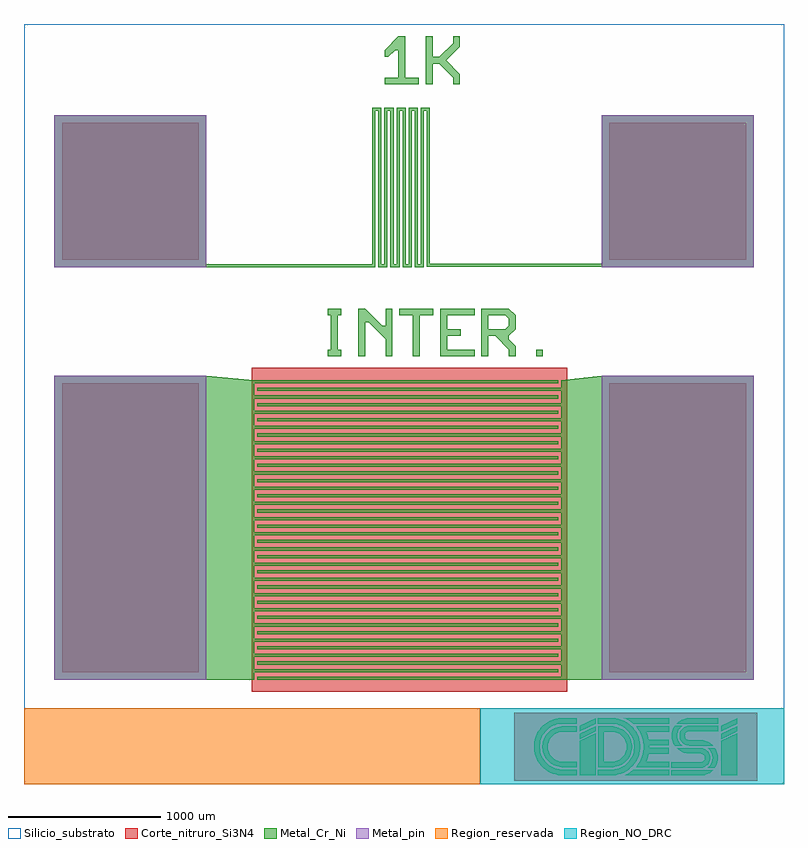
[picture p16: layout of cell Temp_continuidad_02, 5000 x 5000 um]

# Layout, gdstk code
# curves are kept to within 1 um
import gdstk
lib = gdstk.Library(unit=1e-6, precision=1e-06)
def R(c, l, rs):  # rectangles x0, y0, x1, y1
    for r in rs: c.add(gdstk.rectangle(r[:2], r[2:], *l))
def P(c, l, *ps):  # polygons
    for p in ps: c.add(gdstk.Polygon(p, *l))
Silicio_substrato = (1, 1)
Region_reservada = (1, 2)
Region_NO_DRC = (1, 3)
Metal_Cr_Ni = (2, 0)
Corte_nitruro_Si3N4 = (3, 0)
Metal_pin = (4, 0)

temp_continuidad_02 = lib.new_cell('Temp_continuidad_02')
R(temp_continuidad_02, Silicio_substrato, [(0,0,5000,5000)])
R(temp_continuidad_02, Region_reservada, [(0,0,3000,500)])
R(temp_continuidad_02, Region_NO_DRC, [(3000,0,5000,500)])
R(temp_continuidad_02, Metal_Cr_Ni, [(3777,111,3867,147), (3777,147,3815,343), (3777,343,3867,379), (3369,2813,3414,2858)])
P(temp_continuidad_02, Metal_Cr_Ni, [(1997,2813),(1997,2858),(2019,2858),(2019,3083),(1997,3083),(1997,3128),(2087,3128),(2087,3083),(2064,3083),(2064,2858),(2087,2858),(2087,2813)],
  [(2199,2813),(2199,3128),(2244,3128),(2357,3016),(2379,3016),(2379,3128),(2424,3128),(2424,2813),(2379,2813),(2379,2926),(2267,3038),(2244,3038),(2244,2813)],
  [(2559,2813),(2559,3083),(2469,3083),(2469,3128),(2694,3128),(2694,3083),(2604,3083),(2604,2813)],
  [(2739,2813),(2739,3128),(2964,3128),(2964,3083),(2784,3083),(2784,2993),(2874,2993),(2874,2948),(2784,2948),(2784,2858),(2964,2858),(2964,2813)],
  [(3009,2813),(3009,3128),(3189,3128),(3234,3083),(3054,3083),(3054,2993),(3167,2993),(3189,3016),(3189,3061),(3167,3083),(3234,3083),(3234,2993),(3189,2948),(3189,2926),(3234,2881),(3234,2813),(3189,2813),(3189,2858),(3099,2948),(3054,2948),(3054,2813)],
  [(2373,4603),(2373,4648),(2463,4648),(2463,4828),(2441,4828),(2396,4783),(2373,4783),(2373,4828),(2463,4918),(2508,4918),(2508,4648),(2598,4648),(2598,4603)],
  [(2643,4603),(2643,4918),(2688,4918),(2688,4783),(2733,4783),(2823,4873),(2823,4918),(2868,4918),(2868,4851),(2778,4761),(2868,4671),(2868,4603),(2823,4603),(2823,4648),(2733,4738),(2688,4738),(2688,4603)],
  [(4282,253),(4268,278),(4262,301),(4262,335),(4268,356),(4282,382),(4330,382),(4318,371),(4304,352),(4301,344),(4297,322),(4298,305),(4301,290),(4304,283),(4318,263),(4330,253)],
  [(4498,107),(4510,117),(4523,137),(4526,144),(4531,168),(4531,176),(4528,191),(4523,206),(4510,225),(4498,236),(4546,236),(4555,221),(4565,189),(4565,155),(4559,132),(4555,122),(4546,107)],
  [(4588,57),(4588,283),(4694,334),(4694,57)],
  [(4588,347),(4588,382),(4694,433),(4694,398)],
  [(4588,296),(4588,329),(4694,380),(4694,347)],
  [(4375,253),(4361,254),(4349,259),(4334,269),(4322,284),(4313,308),(4313,328),(4319,346),(4330,361),(4349,376),(4367,382),(4568,382),(4568,347),(4373,347),(4367,346),(4358,340),(4349,328),(4349,308),(4355,298),(4367,290),(4456,289),(4478,286),(4510,272),(4534,253)],
  [(4294,398),(4300,403),(4309,410),(4318,416),(4328,422),(4339,427),(4349,430),(4360,433),(4372,433),(4568,433),(4568,398)],
  [(4259,107),(4259,143),(4457,143),(4472,152),(4477,159),(4478,165),(4480,167),(4480,176),(4477,185),(4469,194),(4460,200),(4360,201),(4339,207),(4328,212),(4309,224),(4294,236),(4460,236),(4478,230),(4498,215),(4508,200),(4513,188),(4514,162),(4513,156),(4505,138),(4493,123),(4478,113),(4466,108)],
  [(4259,56),(4259,92),(4534,92),(4528,86),(4519,78),(4510,72),(4499,68),(4489,63),(4478,59),(4468,57),(4456,56)],
  [(4008,397),(3993,409),(3977,419),(3959,428),(3947,434),(4244,434),(4244,397)],
  [(3951,57),(3959,62),(3977,71),(3993,81),(4008,95),(4010,95),(4244,95),(4244,57)],
  [(4027,111),(4048,140),(4057,158),(4070,195),(4076,234),(4076,256),(4070,295),(4064,314),(4048,350),(4027,379),(4244,379),(4244,343),(4093,343),(4100,326),(4109,292),(4243,292),(4243,254),(4114,254),(4114,237),(4243,237),(4243,200),(4109,200),(4100,164),(4093,147),(4244,147),(4244,111)],
  [(3776,57),(3776,95),(3872,95),(3902,99),(3942,116),(3954,125),(3965,134),(3986,156),(4001,180),(4007,195),(4013,224),(4014,254),(4010,283),(4007,296),(4001,311),(3986,335),(3965,358),(3942,376),(3915,388),(3902,392),(3872,397),(3776,397),(3776,434),(3893,433),(3927,424),(3962,407),(3977,397),(4004,373),(4027,343),(4036,326),(4043,310),(4048,292),(4054,256),(4054,236),(4052,218),(4043,182),(4036,165),(4027,149),(4004,119),(3977,95),(3962,84),(3945,75),(3911,63),(3893,59),(3873,57)],
  [(3867,111),(3867,147),(3882,147),(3900,152),(3926,165),(3947,186),(3960,212),(3965,230),(3965,260),(3960,278),(3947,304),(3926,325),(3909,334),(3882,343),(3867,343),(3867,379),(3875,379),(3912,371),(3947,352),(3966,335),(3981,314),(3993,290),(4001,253),(4001,237),(3993,200),(3974,165),(3957,146),(3936,131),(3912,119),(3887,113)],
  [(3537,111),(3498,119),(3464,138),(3446,155),(3429,176),(3414,212),(3411,237),(3411,253),(3414,278),(3423,302),(3429,314),(3437,325),(3455,344),(3464,352),(3498,371),(3537,379),(3638,379),(3638,343),(3530,343),(3510,338),(3485,325),(3465,304),(3459,296),(3455,287),(3449,269),(3446,250),(3447,230),(3449,221),(3459,194),(3485,165),(3510,152),(3530,147),(3638,147),(3638,111)],
  [(3534,57),(3515,59),(3497,63),(3462,75),(3446,84),(3431,95),(3404,119),(3392,134),(3381,149),(3366,182),(3360,200),(3356,236),(3357,274),(3360,292),(3366,310),(3381,343),(3404,373),(3431,397),(3462,416),(3480,424),(3515,433),(3638,434),(3638,397),(3536,397),(3506,392),(3492,388),(3465,376),(3443,358),(3422,335),(3407,311),(3401,296),(3393,254),(3393,237),(3401,195),(3407,180),(3422,156),(3432,144),(3453,125),(3465,116),(3492,104),(3506,99),(3521,96),(3638,95),(3638,57)],
  [(3656,57),(3656,283),(3762,334),(3762,57)],
  [(3656,347),(3656,382),(3762,433),(3762,398)],
  [(3656,296),(3656,329),(3762,380),(3762,347)],
  [(200,3400),(200,4400),(1200,4400),(1200,3420),(2291,3420),(2291,4448),(2351,4448),(2351,3420),(2371,3420),(2371,4448),(2431,4448),(2431,3420),(2451,3420),(2451,4448),(2511,4448),(2511,3420),(2531,3420),(2531,4448),(2591,4448),(2591,3420),(2611,3420),(2611,4448),(2671,4448),(2671,3422),(3800,3422),(3800,4400),(4800,4400),(4800,3400),(3800,3400),(3800,3402),(2651,3402),(2651,4428),(2631,4428),(2631,3400),(2571,3400),(2571,4428),(2551,4428),(2551,3400),(2491,3400),(2491,4428),(2471,4428),(2471,3400),(2411,3400),(2411,4428),(2391,4428),(2391,3400),(2331,3400),(2331,4428),(2311,4428),(2311,3400)],
  [(200,686),(200,2686),(1200,2686),(1516,2656),(3516,2656),(3516,2636),(1516,2636),(1516,2556),(3516,2556),(3516,2536),(1516,2536),(1516,2456),(3516,2456),(3516,2436),(1516,2436),(1516,2356),(3516,2356),(3516,2336),(1516,2336),(1516,2256),(3516,2256),(3516,2236),(1516,2236),(1516,2156),(3516,2156),(3516,2136),(1516,2136),(1516,2056),(3516,2056),(3516,2036),(1516,2036),(1516,1956),(3516,1956),(3516,1936),(1516,1936),(1516,1856),(3516,1856),(3516,1836),(1516,1836),(1516,1756),(3516,1756),(3516,1736),(1516,1736),(1516,1656),(3516,1656),(3516,1636),(1516,1636),(1516,1556),(3516,1556),(3516,1536),(1516,1536),(1516,1456),(3516,1456),(3516,1436),(1516,1436),(1516,1356),(3516,1356),(3516,1336),(1516,1336),(1516,1256),(3516,1256),(3516,1236),(1516,1236),(1516,1156),(3516,1156),(3516,1136),(1516,1136),(1516,1056),(3516,1056),(3516,1036),(1516,1036),(1516,956),(3516,956),(3516,936),(1516,936),(1516,856),(3516,856),(3516,836),(1516,836),(1516,756),(3516,756),(3516,736),(1516,736),(1516,686)],
  [(1536,686),(1536,706),(3536,706),(3536,786),(1536,786),(1536,806),(3536,806),(3536,886),(1536,886),(1536,906),(3536,906),(3536,986),(1536,986),(1536,1006),(3536,1006),(3536,1086),(1536,1086),(1536,1106),(3536,1106),(3536,1186),(1536,1186),(1536,1206),(3536,1206),(3536,1286),(1536,1286),(1536,1306),(3536,1306),(3536,1386),(1536,1386),(1536,1406),(3536,1406),(3536,1486),(1536,1486),(1536,1506),(3536,1506),(3536,1586),(1536,1586),(1536,1606),(3536,1606),(3536,1686),(1536,1686),(1536,1706),(3536,1706),(3536,1786),(1536,1786),(1536,1806),(3536,1806),(3536,1886),(1536,1886),(1536,1906),(3536,1906),(3536,1986),(1536,1986),(1536,2006),(3536,2006),(3536,2086),(1536,2086),(1536,2106),(3536,2106),(3536,2186),(1536,2186),(1536,2206),(3536,2206),(3536,2286),(1536,2286),(1536,2306),(3536,2306),(3536,2386),(1536,2386),(1536,2406),(3536,2406),(3536,2486),(1536,2486),(1536,2506),(3536,2506),(3536,2586),(1536,2586),(1536,2606),(3536,2606),(3536,2656),(3800,2686),(4800,2686),(4800,686)])
R(temp_continuidad_02, Corte_nitruro_Si3N4, [(3225,20,4825,470), (1499,607,3574,2740), (250,736,1150,2636), (3850,736,4750,2636), (250,3450,1150,4350), (3850,3450,4750,4350)])
R(temp_continuidad_02, Metal_pin, [(200,686,1200,2686), (3800,686,4800,2686), (200,3400,1200,4400), (3800,3400,4800,4400)])

lib.write_gds('Temp_continuidad_02.gds')
